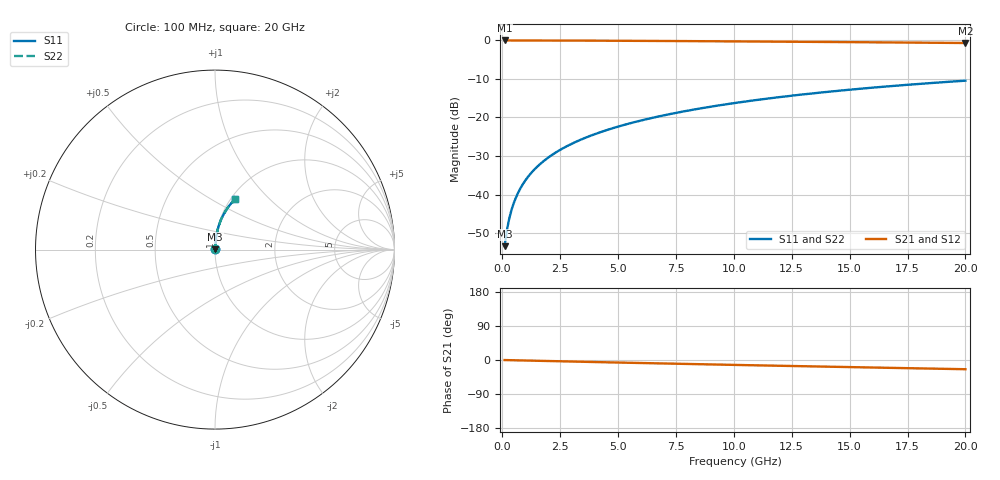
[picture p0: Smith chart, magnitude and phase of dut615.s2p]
! Touchstone file exported from HFSS 2024.1.0
!  File:  C:/UserFiles/LocalFiles/RDL_TSV_Batchsim/temp_RDL_bottom_615_1779783803.aedt
!  Generated:  04:26:15 PM May 26, 2026
!  Design:  RDL_bottom
!  Project:  temp_RDL_bottom_615_1779783803
!  Setup:  Setup1
!  Solution:  Sweep
! Variables:
!  dtsv = 10.80580581um
!  hbump = 3um
!  htsv = 83.35um
!  ldown = 271.78um
!  lrdl = 100um
!  p = 40
!  p1 = 58.37um
!  rhole = 1um
!  t = 450um
!  tdown = 4.77um
!  trdl = 3.915915916um
!  wdown = 15.18um
!  wrdl = 20um
# GHz S MA R 50.000000
! Terminal data exported
! Port[1] = RDL1_T1
! Port[2] = RDL1_T2
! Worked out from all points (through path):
!   200 points, 100 MHz to 20 GHz, reference 50 ohm
!   highest |S21| = -0.01 dB at 100 MHz (marker M1); lowest = -0.7 dB at 20 GHz (marker M2)
!   group delay of S21, straight-line fit = 3.36 ps
!   lowest |S11| = -53.4 dB at 100 MHz (marker M3), VSWR 1.00, Z = 50.1 + j0.157 ohm
!   |S11| at or under -10 dB: start of sweep to end of sweep
!   |S22| runs from -53.4 to -10.5 dB; largest |S21 - S12| = 2.6e-15
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0.1  0.002135 47.3  0.9985 -0.1  0.9985 -0.1  0.002135 47.3
! Gamma 0 0 0 0
! Port Impedance 50 0 50 0
0.2  0.003448 64.3  0.9985 -0.3  0.9985 -0.3  0.003448 64.3
0.3  0.004872 71.6  0.9984 -0.4  0.9984 -0.4  0.004872 71.6
0.4  0.006331 75.6  0.9984 -0.6  0.9984 -0.6  0.006331 75.6
0.5  0.007807 78.1  0.9983 -0.7  0.9983 -0.7  0.007807 78.1
0.7  0.01079 81.0  0.9982 -1.0  0.9982 -1.0  0.01079 81.0
0.8  0.01229 81.9  0.9981 -1.1  0.9981 -1.1  0.01229 81.9
1  0.0153 83.2  0.9979 -1.4  0.9979 -1.4  0.0153 83.2
1.2  0.01831 84.0  0.9978 -1.7  0.9978 -1.7  0.01831 84.0
1.4  0.02133 84.5  0.9975 -1.9  0.9975 -1.9  0.02133 84.5
1.7  0.02587 84.9  0.9972 -2.3  0.9972 -2.3  0.02587 84.9
2  0.03041 85.2  0.9968 -2.7  0.9968 -2.7  0.03041 85.2
2.7  0.04102 85.3  0.9955 -3.7  0.9955 -3.7  0.04102 85.3
3.5  0.05316 85.1  0.9938 -4.8  0.9938 -4.8  0.05316 85.1
4.2  0.06383 84.8  0.992 -5.7  0.992 -5.7  0.06383 84.8
5  0.07607 84.3  0.9897 -6.7  0.9897 -6.7  0.07607 84.3
6.8  0.1038 82.9  0.9838 -9.0  0.9838 -9.0  0.1038 82.9
8.3  0.127 81.5  0.9783 -10.9  0.9783 -10.9  0.127 81.5
10.1  0.1549 79.7  0.9713 -13.0  0.9713 -13.0  0.1549 79.7
13.4  0.2053 76.0  0.9572 -16.9  0.9572 -16.9  0.2053 76.0
16.7  0.254 72.2  0.9419 -20.7  0.9419 -20.7  0.254 72.2
20  0.3002 68.5  0.9254 -24.3  0.9254 -24.3  0.3002 68.5
